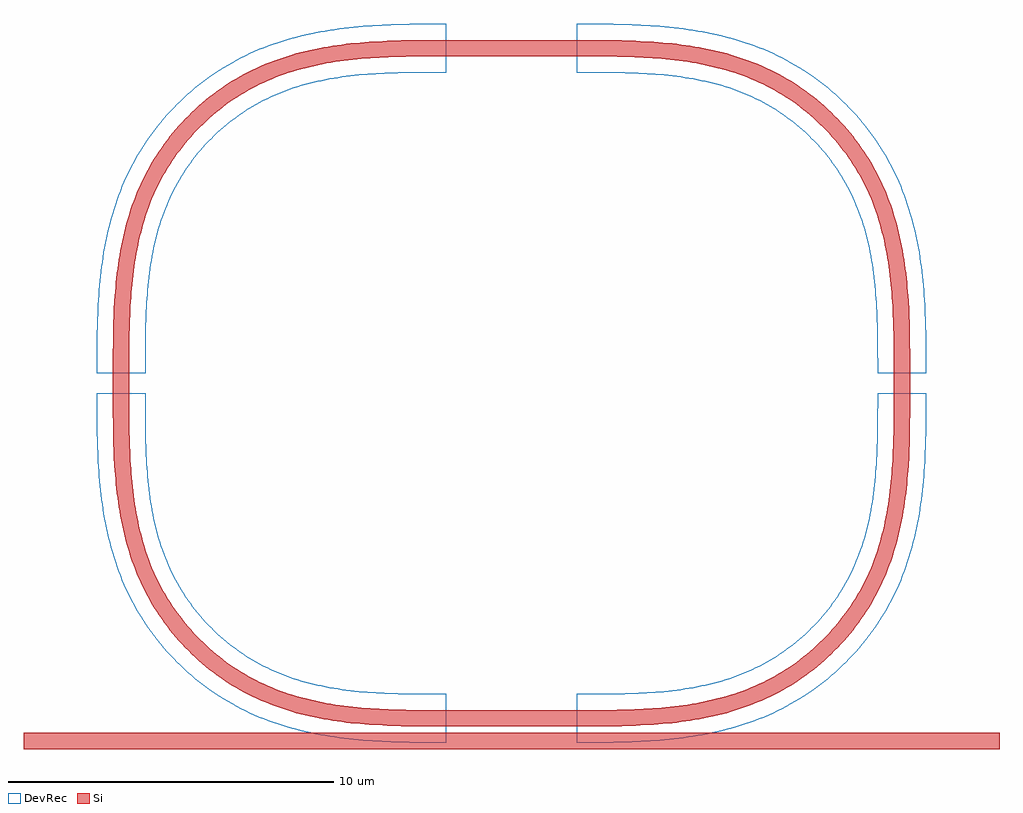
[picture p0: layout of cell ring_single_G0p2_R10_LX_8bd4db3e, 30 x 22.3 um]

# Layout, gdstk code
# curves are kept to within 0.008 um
from math import pi, radians
import gdstk
lib = gdstk.Library(unit=1e-6, precision=1e-09)
def R(c, l, rs):  # rectangles x0, y0, x1, y1
    for r in rs: c.add(gdstk.rectangle(r[:2], r[2:], *l))
def P(c, l, *ps):  # polygons
    for p in ps: c.add(gdstk.Polygon(p, *l))
Si = (1, 0)
DevRec = (68, 0)

bend_euler_r10_csfcross_ = lib.new_cell('bend_euler_R10_CSFcross_bd306b36')
P(bend_euler_r10_csfcross_, Si, [(0,-0.25),(0,0.25),(1.655,0.269),(2.338,0.305),(2.881,0.353),(3.42,0.424),(3.952,0.52),(4.477,0.647),(4.99,0.806),(5.365,0.949),(5.731,1.113),(6.087,1.299),(6.431,1.505),(6.762,1.731),(7.079,1.976),(7.575,2.425),(8.024,2.921),(8.269,3.238),(8.495,3.569),(8.701,3.913),(8.887,4.269),(9.051,4.635),(9.194,5.01),(9.353,5.523),(9.48,6.048),(9.576,6.58),(9.647,7.119),(9.695,7.662),(9.731,8.345),(9.75,10),(10.25,10),(10.235,8.468),(10.203,7.767),(10.158,7.205),(10.091,6.644),(10.023,6.224),(9.907,5.668),(9.797,5.254),(9.618,4.711),(9.457,4.312),(9.273,3.922),(9.066,3.545),(8.756,3.061),(8.5,2.715),(8.224,2.385),(7.928,2.072),(7.615,1.776),(7.285,1.5),(6.939,1.244),(6.455,0.934),(6.078,0.727),(5.688,0.543),(5.289,0.382),(4.746,0.203),(4.332,0.093),(3.776,-0.023),(3.356,-0.091),(2.795,-0.158),(2.233,-0.203),(1.532,-0.235)])
P(bend_euler_r10_csfcross_, DevRec, [(0,-0.75),(0,0.75),(1.637,0.769),(2.17,0.795),(2.697,0.837),(3.215,0.899),(3.724,0.984),(4.099,1.066),(4.466,1.163),(4.942,1.32),(5.288,1.459),(5.624,1.618),(5.95,1.797),(6.265,1.994),(6.666,2.285),(6.951,2.524),(7.221,2.779),(7.476,3.049),(7.715,3.334),(8.006,3.735),(8.203,4.05),(8.382,4.376),(8.541,4.712),(8.68,5.058),(8.837,5.534),(8.934,5.901),(9.016,6.276),(9.101,6.785),(9.163,7.303),(9.205,7.83),(9.231,8.363),(9.25,10),(10.75,10),(10.735,8.453),(10.711,7.88),(10.656,7.156),(10.586,6.574),(10.488,5.989),(10.393,5.551),(10.277,5.114),(10.087,4.537),(9.915,4.111),(9.718,3.695),(9.497,3.292),(9.167,2.775),(8.893,2.406),(8.597,2.053),(8.282,1.718),(7.947,1.403),(7.594,1.107),(7.225,0.833),(6.708,0.503),(6.305,0.282),(5.889,0.085),(5.463,-0.087),(4.886,-0.277),(4.449,-0.393),(4.011,-0.488),(3.426,-0.586),(2.844,-0.656),(2.12,-0.711),(1.547,-0.735)])

straight_l10_n2_csfcros_ = lib.new_cell('straight_L10_N2_CSFcros_276f0989')
R(straight_l10_n2_csfcros_, Si, [(0,-0.25,10,0.25)])

coupler90_g0p2_r10_bben_ = lib.new_cell('coupler90_G0p2_R10_Bben_a0bcac88')
coupler90_g0p2_r10_bben_.add(gdstk.Reference(bend_euler_r10_csfcross_, (0,0.7)))
coupler90_g0p2_r10_bben_.add(gdstk.Reference(straight_l10_n2_csfcros_, (0,0)))

straight_l4_n2_csfcross_ = lib.new_cell('straight_L4_N2_CSFcross_107b0643')
R(straight_l4_n2_csfcross_, Si, [(0,-0.25,4,0.25)])

coupler_straight_l4_g0p_ = lib.new_cell('coupler_straight_L4_G0p_81f12b68')
coupler_straight_l4_g0p_.add(gdstk.Reference(straight_l4_n2_csfcross_, (0,0.7)))
coupler_straight_l4_g0p_.add(gdstk.Reference(straight_l4_n2_csfcross_, (0,0)))

straight_l3_n2_csfcross_ = lib.new_cell('straight_L3_N2_CSFcross_ca386f36')
R(straight_l3_n2_csfcross_, Si, [(0,-0.25,3,0.25)])

coupler_ring_g0p2_r10_l_ = lib.new_cell('coupler_ring_G0p2_R10_L_dd40017f')
coupler_ring_g0p2_r10_l_.add(gdstk.Reference(coupler90_g0p2_r10_bben_, (-4,0), rotation=pi, x_reflection=True))
coupler_ring_g0p2_r10_l_.add(gdstk.Reference(coupler90_g0p2_r10_bben_, (0,0)))
coupler_ring_g0p2_r10_l_.add(gdstk.Reference(coupler_straight_l4_g0p_, (-4,0)))
coupler_ring_g0p2_r10_l_.add(gdstk.Reference(straight_l3_n2_csfcross_, (-17,0)))
coupler_ring_g0p2_r10_l_.add(gdstk.Reference(straight_l3_n2_csfcross_, (10,0)))

straight_l0p6_n2_csfcro_ = lib.new_cell('straight_L0p6_N2_CSFcro_a6504e23')
R(straight_l0p6_n2_csfcro_, Si, [(0,-0.25,0.6,0.25)])

ring_single_g0p2_r10_lx_ = lib.new_cell('ring_single_G0p2_R10_LX_8bd4db3e')
ring_single_g0p2_r10_lx_.add(gdstk.Reference(coupler_ring_g0p2_r10_l_, (0,0)))
ring_single_g0p2_r10_lx_.add(gdstk.Reference(straight_l0p6_n2_csfcro_, (-14,10.7), rotation=pi/2))
ring_single_g0p2_r10_lx_.add(gdstk.Reference(straight_l0p6_n2_csfcro_, (10,11.3), rotation=3*pi/2))
ring_single_g0p2_r10_lx_.add(gdstk.Reference(straight_l4_n2_csfcross_, (0,21.3), rotation=pi))
ring_single_g0p2_r10_lx_.add(gdstk.Reference(bend_euler_r10_csfcross_, (-4,21.3), rotation=pi))
ring_single_g0p2_r10_lx_.add(gdstk.Reference(bend_euler_r10_csfcross_, (10,11.3), rotation=pi/2))

lib.write_gds('ring_single_G0p2_R10_LX_8bd4db3e.gds')
